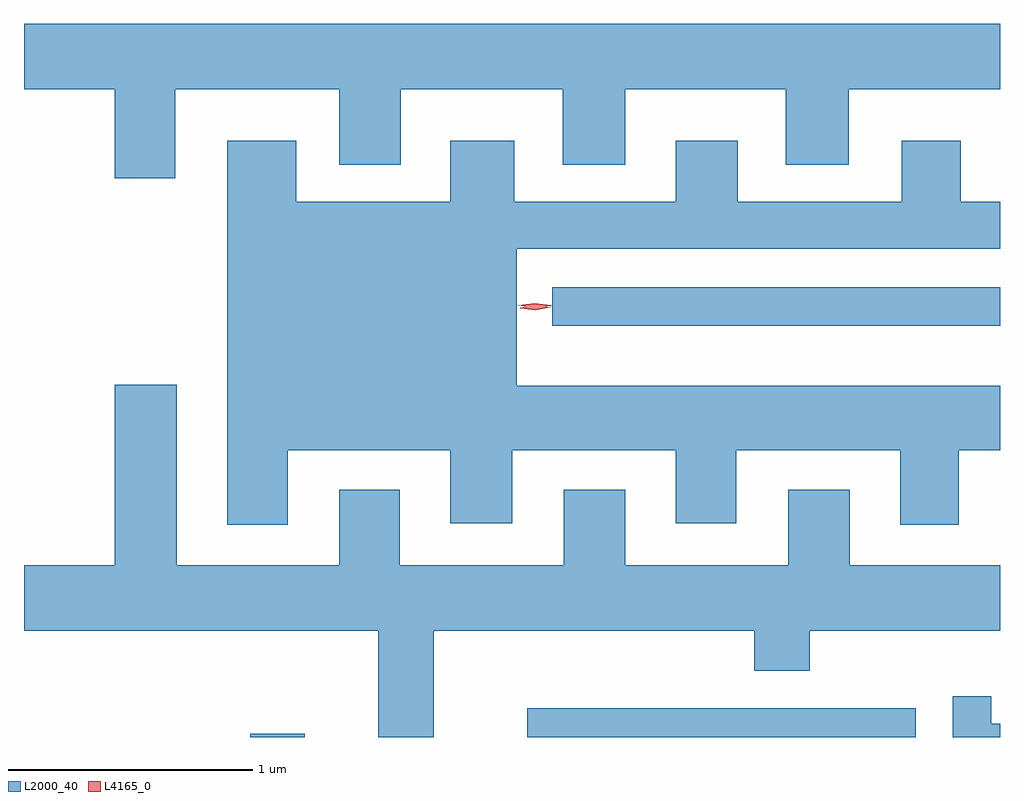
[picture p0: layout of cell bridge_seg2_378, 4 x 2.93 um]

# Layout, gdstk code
import gdstk
lib = gdstk.Library(unit=1e-6, precision=1e-09)
def R(c, l, rs):  # rectangles x0, y0, x1, y1
    for r in rs: c.add(gdstk.rectangle(r[:2], r[2:], *l))
def P(c, l, *ps):  # polygons
    for p in ps: c.add(gdstk.Polygon(p, *l))
L2000_40 = (2000, 40)
L4165_0 = (4165, 0)

bridge_seg2_378 = lib.new_cell('bridge_seg2_378')
R(bridge_seg2_378, L2000_40, [(645.596,1034.559,645.819,1034.574), (646.731,1034.559,648.324,1034.679), (646.833,1036.246,648.669,1036.404)])
P(bridge_seg2_378, L2000_40, [(645.289,1037.216),(645.961,1037.216),(645.961,1036.906),(646.214,1036.906),(646.214,1037.216),(646.876,1037.216),(646.876,1036.906),(647.134,1036.906),(647.134,1037.216),(647.791,1037.216),(647.791,1036.906),(648.049,1036.906),(648.049,1037.216),(648.669,1037.216),(648.669,1037.484),(644.669,1037.484),(644.669,1037.216),(645.041,1037.216),(645.041,1036.851),(645.289,1036.851)],
  [(645.749,1035.736),(646.416,1035.736),(646.416,1035.436),(646.669,1035.436),(646.669,1035.736),(647.341,1035.736),(647.341,1035.436),(647.589,1035.436),(647.589,1035.736),(648.261,1035.736),(648.261,1035.431),(648.499,1035.431),(648.499,1035.736),(648.669,1035.736),(648.669,1035.999),(646.689,1035.999),(646.689,1036.561),(648.669,1036.561),(648.669,1036.754),(648.509,1036.754),(648.509,1037.004),(648.266,1037.004),(648.266,1036.754),(647.594,1036.754),(647.594,1037.004),(647.341,1037.004),(647.341,1036.754),(646.679,1036.754),(646.679,1037.004),(646.416,1037.004),(646.416,1036.754),(645.784,1036.754),(645.784,1037.004),(645.501,1037.004),(645.501,1035.431),(645.749,1035.431)],
  [(646.349,1034.996),(647.661,1034.996),(647.661,1034.831),(647.889,1034.831),(647.889,1034.996),(648.669,1034.996),(648.669,1035.264),(648.054,1035.264),(648.054,1035.574),(647.801,1035.574),(647.801,1035.264),(647.134,1035.264),(647.134,1035.574),(646.881,1035.574),(646.881,1035.264),(646.209,1035.264),(646.209,1035.574),(645.961,1035.574),(645.961,1035.264),(645.294,1035.264),(645.294,1036.004),(645.041,1036.004),(645.041,1035.264),(644.669,1035.264),(644.669,1034.996),(646.121,1034.996),(646.121,1034.559),(646.349,1034.559)],
  [(648.669,1034.614),(648.634,1034.614),(648.634,1034.728),(648.476,1034.728),(648.476,1034.559),(648.669,1034.559)])
P(bridge_seg2_378, L4165_0, [(646.761,1036.319),(646.693,1036.329),(646.692,1036.329),(646.693,1036.33),(646.762,1036.339),(646.83,1036.329),(646.83,1036.329),(646.83,1036.328)],
  [(646.765,1036.31),(646.703,1036.318),(646.702,1036.319),(646.703,1036.32),(646.764,1036.33),(646.826,1036.322),(646.827,1036.321),(646.826,1036.321)])

lib.write_gds('bridge_seg2_378.gds')
